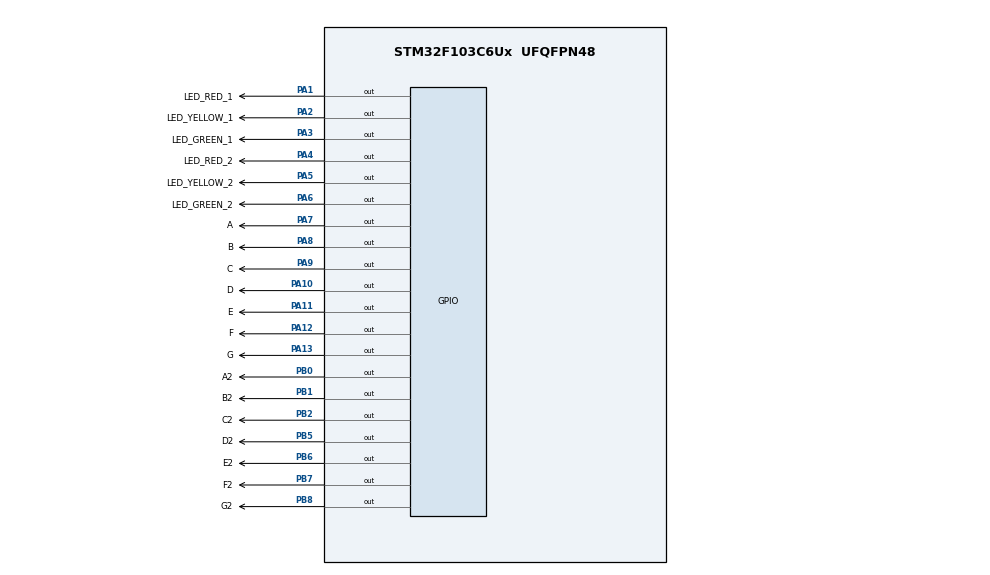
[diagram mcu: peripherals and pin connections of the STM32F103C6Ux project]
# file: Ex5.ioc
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Mcu.Family=STM32F1
Mcu.Name=STM32F103C6Ux
Mcu.Package=UFQFPN48
NVIC.PriorityGroup=NVIC_PRIORITYGROUP_4
PA1.GPIO_Label=LED_RED_1
PA1.Signal=GPIO_Output
PA10.GPIO_Label=D
PA10.Signal=GPIO_Output
PA11.GPIO_Label=E
PA11.Signal=GPIO_Output
PA12.GPIO_Label=F
PA12.Signal=GPIO_Output
PA13.GPIO_Label=G
PA13.Signal=GPIO_Output
PA2.GPIO_Label=LED_YELLOW_1
PA2.Signal=GPIO_Output
PA3.GPIO_Label=LED_GREEN_1
PA3.Signal=GPIO_Output
PA4.GPIO_Label=LED_RED_2
PA4.Signal=GPIO_Output
PA5.GPIO_Label=LED_YELLOW_2
PA5.Signal=GPIO_Output
PA6.GPIO_Label=LED_GREEN_2
PA6.Signal=GPIO_Output
PA7.GPIO_Label=A
PA7.Signal=GPIO_Output
PA8.GPIO_Label=B
PA8.Signal=GPIO_Output
PA9.GPIO_Label=C
PA9.Signal=GPIO_Output
PB0.GPIO_Label=A2
PB0.Signal=GPIO_Output
PB1.GPIO_Label=B2
PB1.Signal=GPIO_Output
PB2.GPIO_Label=C2
PB2.Signal=GPIO_Output
PB5.GPIO_Label=D2
PB5.Signal=GPIO_Output
PB6.GPIO_Label=E2
PB6.Signal=GPIO_Output
PB7.GPIO_Label=F2
PB7.Signal=GPIO_Output
PB8.GPIO_Label=G2
PB8.Signal=GPIO_Output
ProjectManager.HeapSize=0x200
ProjectManager.StackSize=0x400
ProjectManager.TargetToolchain=STM32CubeIDE
RCC.APB1Freq_Value=8000000
RCC.APB2Freq_Value=8000000
VP_SYS_VS_ND.Mode=No_Debug
board=custom

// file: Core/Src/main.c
/* USER CODE BEGIN Header */
/**
  ******************************************************************************
  * @file           : main.c
  * @brief          : Main program body
  ******************************************************************************
  * @attention
  *
  * <h2><center>&copy; Copyright (c) 2023 STMicroelectronics.
  * All rights reserved.</center></h2>
  *
  * This software component is licensed by ST under BSD 3-Clause license,
  * the "License"; You may not use this file except in compliance with the
  * License. You may obtain a copy of the License at:
  *                        opensource.org/licenses/BSD-3-Clause
  *
  ******************************************************************************
  */
/* USER CODE END Header */
#include "main.h"

void SystemClock_Config(void);
static void MX_GPIO_Init(void);

/* USER CODE BEGIN 0 */
void display7SEG(int num) {
	switch(num) {
		case 0:
			HAL_GPIO_WritePin(A_GPIO_Port,A_Pin,RESET);
			HAL_GPIO_WritePin(B_GPIO_Port,B_Pin,RESET);
			HAL_GPIO_WritePin(C_GPIO_Port,C_Pin,RESET);
			HAL_GPIO_WritePin(D_GPIO_Port,D_Pin,RESET);
			HAL_GPIO_WritePin(E_GPIO_Port,E_Pin,RESET);
			HAL_GPIO_WritePin(F_GPIO_Port,F_Pin,RESET);
			HAL_GPIO_WritePin(G_GPIO_Port,G_Pin,SET);
			break;

		case 1:
			HAL_GPIO_WritePin(A_GPIO_Port,A_Pin,SET);
			HAL_GPIO_WritePin(B_GPIO_Port,B_Pin,RESET);
			HAL_GPIO_WritePin(C_GPIO_Port,C_Pin,RESET);
			HAL_GPIO_WritePin(D_GPIO_Port,D_Pin,SET);
			HAL_GPIO_WritePin(E_GPIO_Port,E_Pin,SET);
			HAL_GPIO_WritePin(F_GPIO_Port,F_Pin,SET);
			HAL_GPIO_WritePin(G_GPIO_Port,G_Pin,SET);
			break;

		case 2:
			HAL_GPIO_WritePin(A_GPIO_Port,A_Pin,RESET);
			HAL_GPIO_WritePin(B_GPIO_Port,B_Pin,RESET);
			HAL_GPIO_WritePin(C_GPIO_Port,C_Pin,SET);
			HAL_GPIO_WritePin(D_GPIO_Port,D_Pin,RESET);
			HAL_GPIO_WritePin(E_GPIO_Port,E_Pin,RESET);
			HAL_GPIO_WritePin(F_GPIO_Port,F_Pin,SET);
			HAL_GPIO_WritePin(G_GPIO_Port,G_Pin,RESET);
			break;

		case 3:
			HAL_GPIO_WritePin(A_GPIO_Port,A_Pin,RESET);
			HAL_GPIO_WritePin(B_GPIO_Port,B_Pin,RESET);
			HAL_GPIO_WritePin(C_GPIO_Port,C_Pin,RESET);
			HAL_GPIO_WritePin(D_GPIO_Port,D_Pin,RESET);
			HAL_GPIO_WritePin(E_GPIO_Port,E_Pin,SET);
			HAL_GPIO_WritePin(F_GPIO_Port,F_Pin,SET);
			HAL_GPIO_WritePin(G_GPIO_Port,G_Pin,RESET);
			break;

		case 4:
			HAL_GPIO_WritePin(A_GPIO_Port,A_Pin,SET);
			HAL_GPIO_WritePin(B_GPIO_Port,B_Pin,RESET);
			HAL_GPIO_WritePin(C_GPIO_Port,C_Pin,RESET);
			HAL_GPIO_WritePin(D_GPIO_Port,D_Pin,SET);
			HAL_GPIO_WritePin(E_GPIO_Port,E_Pin,SET);
			HAL_GPIO_WritePin(F_GPIO_Port,F_Pin,RESET);
			HAL_GPIO_WritePin(G_GPIO_Port,G_Pin,RESET);
			break;

		case 5:
			HAL_GPIO_WritePin(A_GPIO_Port,A_Pin,RESET);
			HAL_GPIO_WritePin(B_GPIO_Port,B_Pin,SET);
			HAL_GPIO_WritePin(C_GPIO_Port,C_Pin,RESET);
			HAL_GPIO_WritePin(D_GPIO_Port,D_Pin,RESET);
			HAL_GPIO_WritePin(E_GPIO_Port,E_Pin,SET);
			HAL_GPIO_WritePin(F_GPIO_Port,F_Pin,RESET);
			HAL_GPIO_WritePin(G_GPIO_Port,G_Pin,RESET);
			break;

		case 6:
			HAL_GPIO_WritePin(A_GPIO_Port,A_Pin,RESET);
			HAL_GPIO_WritePin(B_GPIO_Port,B_Pin,SET);
			HAL_GPIO_WritePin(C_GPIO_Port,C_Pin,RESET);
			HAL_GPIO_WritePin(D_GPIO_Port,D_Pin,RESET);
			HAL_GPIO_WritePin(E_GPIO_Port,E_Pin,RESET);
			HAL_GPIO_WritePin(F_GPIO_Port,F_Pin,RESET);
			HAL_GPIO_WritePin(G_GPIO_Port,G_Pin,RESET);
			break;

		case 7:
			HAL_GPIO_WritePin(A_GPIO_Port,A_Pin,RESET);
			HAL_GPIO_WritePin(B_GPIO_Port,B_Pin,RESET);
			HAL_GPIO_WritePin(C_GPIO_Port,C_Pin,RESET);
			HAL_GPIO_WritePin(D_GPIO_Port,D_Pin,SET);
			HAL_GPIO_WritePin(E_GPIO_Port,E_Pin,SET);
			HAL_GPIO_WritePin(F_GPIO_Port,F_Pin,SET);
			HAL_GPIO_WritePin(G_GPIO_Port,G_Pin,SET);
			break;

		case 8:
			HAL_GPIO_WritePin(A_GPIO_Port,A_Pin,RESET);
			HAL_GPIO_WritePin(B_GPIO_Port,B_Pin,RESET);
			HAL_GPIO_WritePin(C_GPIO_Port,C_Pin,RESET);
			HAL_GPIO_WritePin(D_GPIO_Port,D_Pin,RESET);
			HAL_GPIO_WritePin(E_GPIO_Port,E_Pin,RESET);
			HAL_GPIO_WritePin(F_GPIO_Port,F_Pin,RESET);
			HAL_GPIO_WritePin(G_GPIO_Port,G_Pin,RESET);
			break;

		case 9:
			HAL_GPIO_WritePin(A_GPIO_Port,A_Pin,RESET);
			HAL_GPIO_WritePin(B_GPIO_Port,B_Pin,RESET);
			HAL_GPIO_WritePin(C_GPIO_Port,C_Pin,RESET);
			HAL_GPIO_WritePin(D_GPIO_Port,D_Pin,RESET);
			HAL_GPIO_WritePin(E_GPIO_Port,E_Pin,SET);
			HAL_GPIO_WritePin(F_GPIO_Port,F_Pin,RESET);
			HAL_GPIO_WritePin(G_GPIO_Port,G_Pin,RESET);
			break;

		default:
			HAL_GPIO_WritePin(A_GPIO_Port,A_Pin,RESET);
			HAL_GPIO_WritePin(B_GPIO_Port,B_Pin,RESET);
			HAL_GPIO_WritePin(C_GPIO_Port,C_Pin,RESET);
			HAL_GPIO_WritePin(D_GPIO_Port,D_Pin,RESET);
			HAL_GPIO_WritePin(E_GPIO_Port,E_Pin,RESET);
			HAL_GPIO_WritePin(F_GPIO_Port,F_Pin,RESET);
			HAL_GPIO_WritePin(G_GPIO_Port,G_Pin,RESET);
	}
}
/* USER CODE END 0 */

int main(void)
{

  /* MCU Configuration--------------------------------------------------------*/

  /* Reset of all peripherals, Initializes the Flash interface and the Systick. */
  HAL_Init();
  int led_status = 0;
  int count = 3;
  int light = 5;

  /* Configure the system clock */
  SystemClock_Config();

  /* Initialize all configured peripherals */
  MX_GPIO_Init();
  /* USER CODE BEGIN 2 */
  HAL_GPIO_WritePin(LED_RED_1_GPIO_Port, LED_RED_1_Pin, RESET);
  HAL_GPIO_WritePin(LED_GREEN_1_GPIO_Port, LED_GREEN_1_Pin, RESET);
  HAL_GPIO_WritePin(LED_YELLOW_1_GPIO_Port, LED_YELLOW_1_Pin, RESET);
  HAL_GPIO_WritePin(LED_RED_2_GPIO_Port, LED_RED_1_Pin, RESET);
  HAL_GPIO_WritePin(LED_GREEN_2_GPIO_Port, LED_GREEN_1_Pin, RESET);
  HAL_GPIO_WritePin(LED_YELLOW_2_GPIO_Port, LED_YELLOW_1_Pin, RESET);
  /* USER CODE END 2 */

  /* Infinite loop */
  while (1)
  {
	display7SEG(light);
	switch(led_status) {
	  	  case 0:
	  		  HAL_GPIO_WritePin(LED_YELLOW_1_GPIO_Port, LED_YELLOW_1_Pin, RESET);
			  HAL_GPIO_WritePin(LED_RED_2_GPIO_Port, LED_RED_2_Pin, RESET);
			  HAL_GPIO_WritePin(LED_RED_1_GPIO_Port, LED_RED_1_Pin, SET);
			  HAL_GPIO_WritePin(LED_GREEN_2_GPIO_Port, LED_GREEN_2_Pin, SET);
			  count = count - 1;
			  light--;
			  if(count <= 0) {
				  led_status = 1;
				  count = 2;
			  }
			  break;
	  	  case 1:
	  		  HAL_GPIO_WritePin(LED_GREEN_2_GPIO_Port, LED_GREEN_2_Pin, RESET);
			  HAL_GPIO_WritePin(LED_YELLOW_2_GPIO_Port, LED_YELLOW_2_Pin, SET);
			  count = count - 1;
			  light--;
			  if(count <= 0) {
				  led_status = 2;
				  count = 3;
				  light = 3;
			  }
			  break;
		  case 2:
			  HAL_GPIO_WritePin(LED_YELLOW_2_GPIO_Port, LED_YELLOW_2_Pin, RESET);
			  HAL_GPIO_WritePin(LED_RED_1_GPIO_Port, LED_RED_1_Pin, RESET);
			  HAL_GPIO_WritePin(LED_GREEN_1_GPIO_Port, LED_GREEN_1_Pin, SET);
			  HAL_GPIO_WritePin(LED_RED_2_GPIO_Port, LED_RED_2_Pin, SET);
			  count = count - 1;
			  light--;
			  if(count <= 0) {
				  led_status = 3;
				  count = 2;
				  light = 2;
			  }
			  break;
		  case 3:
			  HAL_GPIO_WritePin(LED_GREEN_1_GPIO_Port, LED_GREEN_1_Pin, RESET);
			  HAL_GPIO_WritePin(LED_YELLOW_1_GPIO_Port, LED_YELLOW_1_Pin, SET);
			  count = count - 1;
			  light--;
			  if(count <= 0) {
				  led_status = 0;
				  count = 3;
				  light = 5;
			  }
			  break;
		  default:
			  HAL_GPIO_WritePin(LED_RED_1_GPIO_Port, LED_RED_1_Pin, RESET);
			  HAL_GPIO_WritePin(LED_GREEN_1_GPIO_Port, LED_GREEN_1_Pin, RESET);
			  HAL_GPIO_WritePin(LED_YELLOW_1_GPIO_Port, LED_YELLOW_1_Pin, RESET);
			  HAL_GPIO_WritePin(LED_RED_2_GPIO_Port, LED_RED_2_Pin, RESET);
			  HAL_GPIO_WritePin(LED_GREEN_2_GPIO_Port, LED_GREEN_2_Pin, RESET);
			  HAL_GPIO_WritePin(LED_YELLOW_2_GPIO_Port, LED_YELLOW_2_Pin, RESET);
		  }
	  HAL_Delay(1000);
  }
}

void SystemClock_Config(void)
{
  RCC_OscInitTypeDef RCC_OscInitStruct = {0};
  RCC_ClkInitTypeDef RCC_ClkInitStruct = {0};

  /** Initializes the RCC Oscillators according to the specified parameters
  * in the RCC_OscInitTypeDef structure.
  */
  RCC_OscInitStruct.OscillatorType = RCC_OSCILLATORTYPE_HSI;
  RCC_OscInitStruct.HSIState = RCC_HSI_ON;
  RCC_OscInitStruct.HSICalibrationValue = RCC_HSICALIBRATION_DEFAULT;
  RCC_OscInitStruct.PLL.PLLState = RCC_PLL_NONE;
  if (HAL_RCC_OscConfig(&RCC_OscInitStruct) != HAL_OK)
  {
    Error_Handler();
  }
  /** Initializes the CPU, AHB and APB buses clocks
  */
  RCC_ClkInitStruct.ClockType = RCC_CLOCKTYPE_HCLK|RCC_CLOCKTYPE_SYSCLK
                              |RCC_CLOCKTYPE_PCLK1|RCC_CLOCKTYPE_PCLK2;
  RCC_ClkInitStruct.SYSCLKSource = RCC_SYSCLKSOURCE_HSI;
  RCC_ClkInitStruct.AHBCLKDivider = RCC_SYSCLK_DIV1;
  RCC_ClkInitStruct.APB1CLKDivider = RCC_HCLK_DIV1;
  RCC_ClkInitStruct.APB2CLKDivider = RCC_HCLK_DIV1;

  if (HAL_RCC_ClockConfig(&RCC_ClkInitStruct, FLASH_LATENCY_0) != HAL_OK)
  {
    Error_Handler();
  }
}

static void MX_GPIO_Init(void)
{
  GPIO_InitTypeDef GPIO_InitStruct = {0};

  /* GPIO Ports Clock Enable */
  __HAL_RCC_GPIOA_CLK_ENABLE();
  __HAL_RCC_GPIOB_CLK_ENABLE();

  /*Configure GPIO pin Output Level */
  HAL_GPIO_WritePin(GPIOA, LED_RED_1_Pin|LED_YELLOW_1_Pin|LED_GREEN_1_Pin|LED_RED_2_Pin
                          |LED_YELLOW_2_Pin|LED_GREEN_2_Pin|A_Pin|B_Pin
                          |C_Pin|D_Pin|E_Pin|F_Pin
                          |G_Pin, GPIO_PIN_RESET);

  /*Configure GPIO pin Output Level */
  HAL_GPIO_WritePin(GPIOB, A2_Pin|B2_Pin|C2_Pin|D2_Pin
                          |E2_Pin|F2_Pin|G2_Pin, GPIO_PIN_RESET);

  /*Configure GPIO pins : LED_RED_1_Pin LED_YELLOW_1_Pin LED_GREEN_1_Pin LED_RED_2_Pin
                           LED_YELLOW_2_Pin LED_GREEN_2_Pin A_Pin B_Pin
                           C_Pin D_Pin E_Pin F_Pin
                           G_Pin */
  GPIO_InitStruct.Pin = LED_RED_1_Pin|LED_YELLOW_1_Pin|LED_GREEN_1_Pin|LED_RED_2_Pin
                          |LED_YELLOW_2_Pin|LED_GREEN_2_Pin|A_Pin|B_Pin
                          |C_Pin|D_Pin|E_Pin|F_Pin
                          |G_Pin;
  GPIO_InitStruct.Mode = GPIO_MODE_OUTPUT_PP;
  GPIO_InitStruct.Pull = GPIO_NOPULL;
  GPIO_InitStruct.Speed = GPIO_SPEED_FREQ_LOW;
  HAL_GPIO_Init(GPIOA, &GPIO_InitStruct);

  /*Configure GPIO pins : A2_Pin B2_Pin C2_Pin D2_Pin
                           E2_Pin F2_Pin G2_Pin */
  GPIO_InitStruct.Pin = A2_Pin|B2_Pin|C2_Pin|D2_Pin
                          |E2_Pin|F2_Pin|G2_Pin;
  GPIO_InitStruct.Mode = GPIO_MODE_OUTPUT_PP;
  GPIO_InitStruct.Pull = GPIO_NOPULL;
  GPIO_InitStruct.Speed = GPIO_SPEED_FREQ_LOW;
  HAL_GPIO_Init(GPIOB, &GPIO_InitStruct);

}

void Error_Handler(void)
{
  __disable_irq();
  while (1)
  {
  }
}

/************************ (C) COPYRIGHT STMicroelectronics *****END OF FILE****/
